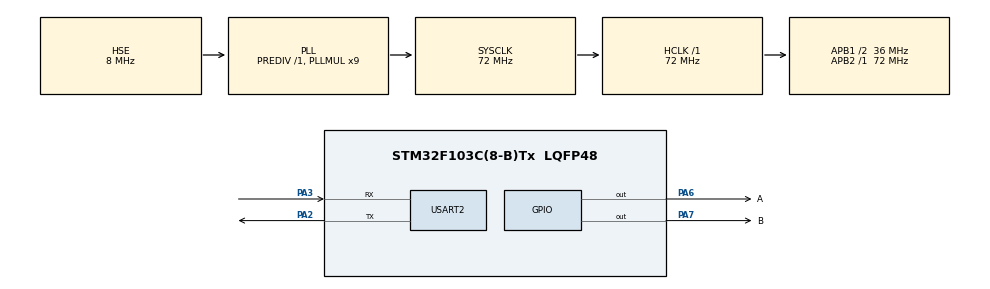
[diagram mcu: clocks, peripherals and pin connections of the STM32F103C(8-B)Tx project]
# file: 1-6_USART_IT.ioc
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Mcu.Family=STM32F1
Mcu.Name=STM32F103C(8-B)Tx
Mcu.Package=LQFP48
NVIC.PriorityGroup=NVIC_PRIORITYGROUP_4
NVIC.USART2_IRQn=true\:0\:0\:false\:false\:true\:true\:true\:true
PA13.Mode=Serial_Wire
PA13.Signal=SYS_JTMS-SWDIO
PA14.Mode=Serial_Wire
PA14.Signal=SYS_JTCK-SWCLK
PA2.Mode=Asynchronous
PA2.Signal=USART2_TX
PA3.Mode=Asynchronous
PA3.Signal=USART2_RX
PA6.GPIO_Label=A
PA6.Signal=GPIO_Output
PA7.GPIO_Label=B
PA7.Signal=GPIO_Output
PC14-OSC32_IN.Mode=LSE-External-Oscillator
PC14-OSC32_IN.Signal=RCC_OSC32_IN
PC15-OSC32_OUT.Mode=LSE-External-Oscillator
PC15-OSC32_OUT.Signal=RCC_OSC32_OUT
PD0-OSC_IN.Mode=HSE-External-Oscillator
PD0-OSC_IN.Signal=RCC_OSC_IN
PD1-OSC_OUT.Mode=HSE-External-Oscillator
PD1-OSC_OUT.Signal=RCC_OSC_OUT
ProjectManager.HeapSize=0x200
ProjectManager.StackSize=0x400
ProjectManager.TargetToolchain=STM32CubeIDE
RCC.AHBFreq_Value=72000000
RCC.APB1CLKDivider=RCC_HCLK_DIV2
RCC.APB1Freq_Value=36000000
RCC.APB1TimFreq_Value=72000000
RCC.APB2Freq_Value=72000000
RCC.APB2TimFreq_Value=72000000
RCC.HCLKFreq_Value=72000000
RCC.PLLMUL=RCC_PLL_MUL9
RCC.PLLSourceVirtual=RCC_PLLSOURCE_HSE
RCC.SYSCLKFreq_VALUE=72000000
RCC.SYSCLKSource=RCC_SYSCLKSOURCE_PLLCLK
RCC.USBFreq_Value=72000000
USART2.VirtualMode=VM_ASYNC
board=custom

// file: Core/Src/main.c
/* USER CODE BEGIN Header */
/**
  ******************************************************************************
  * @file           : main.c
  * @brief          : Main program body
  ******************************************************************************
  * @attention
  *
  * Copyright (c) 2025 STMicroelectronics.
  * All rights reserved.
  *
  * This software is licensed under terms that can be found in the LICENSE file
  * in the root directory of this software component.
  * If no LICENSE file comes with this software, it is provided AS-IS.
  *
  ******************************************************************************
  */
/* USER CODE END Header */
#include "main.h"
#include "usart.h"
#include "gpio.h"

/* USER CODE BEGIN Includes */
#include "string.h"
/* USER CODE END Includes */

/* USER CODE BEGIN PV */

char receivData[20];//存放接收内容

GPIO_PinState state = GPIO_PIN_RESET;//IO口状态

/* USER CODE END PV */

void SystemClock_Config(void);

/* USER CODE BEGIN 0 */

//重定义'接收完成回调'函数
void HAL_UART_RxCpltCallback(UART_HandleTypeDef *huart){//'HAL_UART_Receive_IT'的回调函数

	  HAL_UART_Transmit_IT(&huart2,  (uint8_t*)receivData,strlen(receivData));//开启中断发送，将本次接收的数据发回

	  if(receivData[1] == '0'){
		  state = GPIO_PIN_RESET;//状态设置为低电平
	  }
	  else if(receivData[1] == '1'){
		  state = GPIO_PIN_SET;//状态设置为高电平
	  }

	  if(receivData[0] == 'A'){
		  HAL_GPIO_WritePin(A_GPIO_Port, A_Pin, state);//将 A端口 设置状态为 state
	  }
	  else if(receivData[0] == 'B'){
		  HAL_GPIO_WritePin(B_GPIO_Port, B_Pin, state);//将 B端口 设置状态为 state
	  }

	  HAL_UART_Receive_IT(&huart2, (uint8_t*)receivData, strlen(receivData));//开启下一次中断接收

}
/* USER CODE END 0 */

int main(void)
{

  /* MCU Configuration--------------------------------------------------------*/

  /* Reset of all peripherals, Initializes the Flash interface and the Systick. */
  HAL_Init();

  /* Configure the system clock */
  SystemClock_Config();

  /* Initialize all configured peripherals */
  MX_GPIO_Init();
  MX_USART2_UART_Init();
  /* USER CODE BEGIN 2 */

  HAL_UART_Receive_IT(&huart2, (uint8_t*)receivData, strlen(receivData));//开启中断接收
  /* USER CODE END 2 */

  /* Infinite loop */
  /* USER CODE BEGIN WHILE */
  while (1)
   {

	  /*主进程代码*/

    /* USER CODE END WHILE */

   }
}

void SystemClock_Config(void)
{
  RCC_OscInitTypeDef RCC_OscInitStruct = {0};
  RCC_ClkInitTypeDef RCC_ClkInitStruct = {0};

  /** Initializes the RCC Oscillators according to the specified parameters
  * in the RCC_OscInitTypeDef structure.
  */
  RCC_OscInitStruct.OscillatorType = RCC_OSCILLATORTYPE_HSE;
  RCC_OscInitStruct.HSEState = RCC_HSE_ON;
  RCC_OscInitStruct.HSEPredivValue = RCC_HSE_PREDIV_DIV1;
  RCC_OscInitStruct.HSIState = RCC_HSI_ON;
  RCC_OscInitStruct.PLL.PLLState = RCC_PLL_ON;
  RCC_OscInitStruct.PLL.PLLSource = RCC_PLLSOURCE_HSE;
  RCC_OscInitStruct.PLL.PLLMUL = RCC_PLL_MUL9;
  if (HAL_RCC_OscConfig(&RCC_OscInitStruct) != HAL_OK)
  {
    Error_Handler();
  }

  /** Initializes the CPU, AHB and APB buses clocks
  */
  RCC_ClkInitStruct.ClockType = RCC_CLOCKTYPE_HCLK|RCC_CLOCKTYPE_SYSCLK
                              |RCC_CLOCKTYPE_PCLK1|RCC_CLOCKTYPE_PCLK2;
  RCC_ClkInitStruct.SYSCLKSource = RCC_SYSCLKSOURCE_PLLCLK;
  RCC_ClkInitStruct.AHBCLKDivider = RCC_SYSCLK_DIV1;
  RCC_ClkInitStruct.APB1CLKDivider = RCC_HCLK_DIV2;
  RCC_ClkInitStruct.APB2CLKDivider = RCC_HCLK_DIV1;

  if (HAL_RCC_ClockConfig(&RCC_ClkInitStruct, FLASH_LATENCY_2) != HAL_OK)
  {
    Error_Handler();
  }
}

void Error_Handler(void)
{
  __disable_irq();
  while (1)
  {
  }
}
